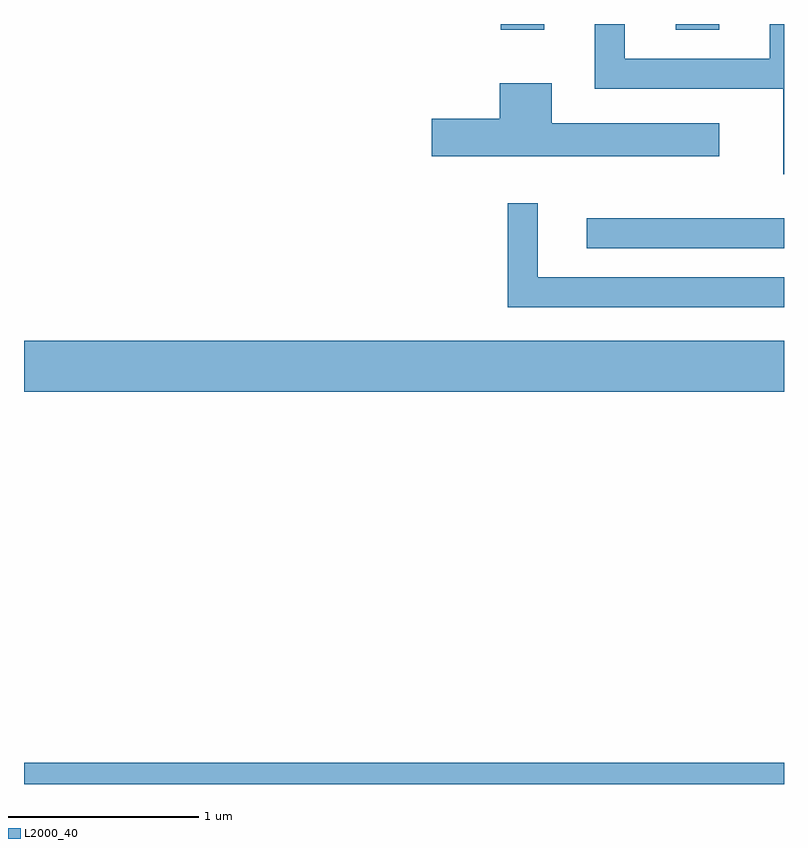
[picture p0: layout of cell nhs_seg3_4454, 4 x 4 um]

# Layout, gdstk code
import gdstk
lib = gdstk.Library(unit=1e-6, precision=1e-09)
def R(c, l, rs):  # rectangles x0, y0, x1, y1
    for r in rs: c.add(gdstk.rectangle(r[:2], r[2:], *l))
def P(c, l, *ps):  # polygons
    for p in ps: c.add(gdstk.Polygon(p, *l))
L2000_40 = (2000, 40)

nhs_seg3_4454 = lib.new_cell('nhs_seg3_4454')
R(nhs_seg3_4454, L2000_40, [(315.611,1183.892,319.611,1184.004), (315.611,1185.956,319.611,1186.224), (318.573,1186.711,319.611,1186.869), (318.121,1187.861,318.349,1187.892), (319.041,1187.861,319.269,1187.892)])
P(nhs_seg3_4454, L2000_40, [(319.611,1187.892),(319.536,1187.892),(319.536,1187.709),(318.774,1187.709),(318.774,1187.892),(318.616,1187.892),(318.616,1187.551),(319.606,1187.551),(319.606,1187.101),(319.611,1187.101)],
  [(319.269,1187.369),(318.389,1187.369),(318.389,1187.579),(318.116,1187.579),(318.116,1187.394),(317.756,1187.394),(317.756,1187.196),(319.269,1187.196)],
  [(319.611,1186.559),(318.314,1186.559),(318.314,1186.948),(318.156,1186.948),(318.156,1186.401),(319.611,1186.401)])

lib.write_gds('nhs_seg3_4454.gds')
